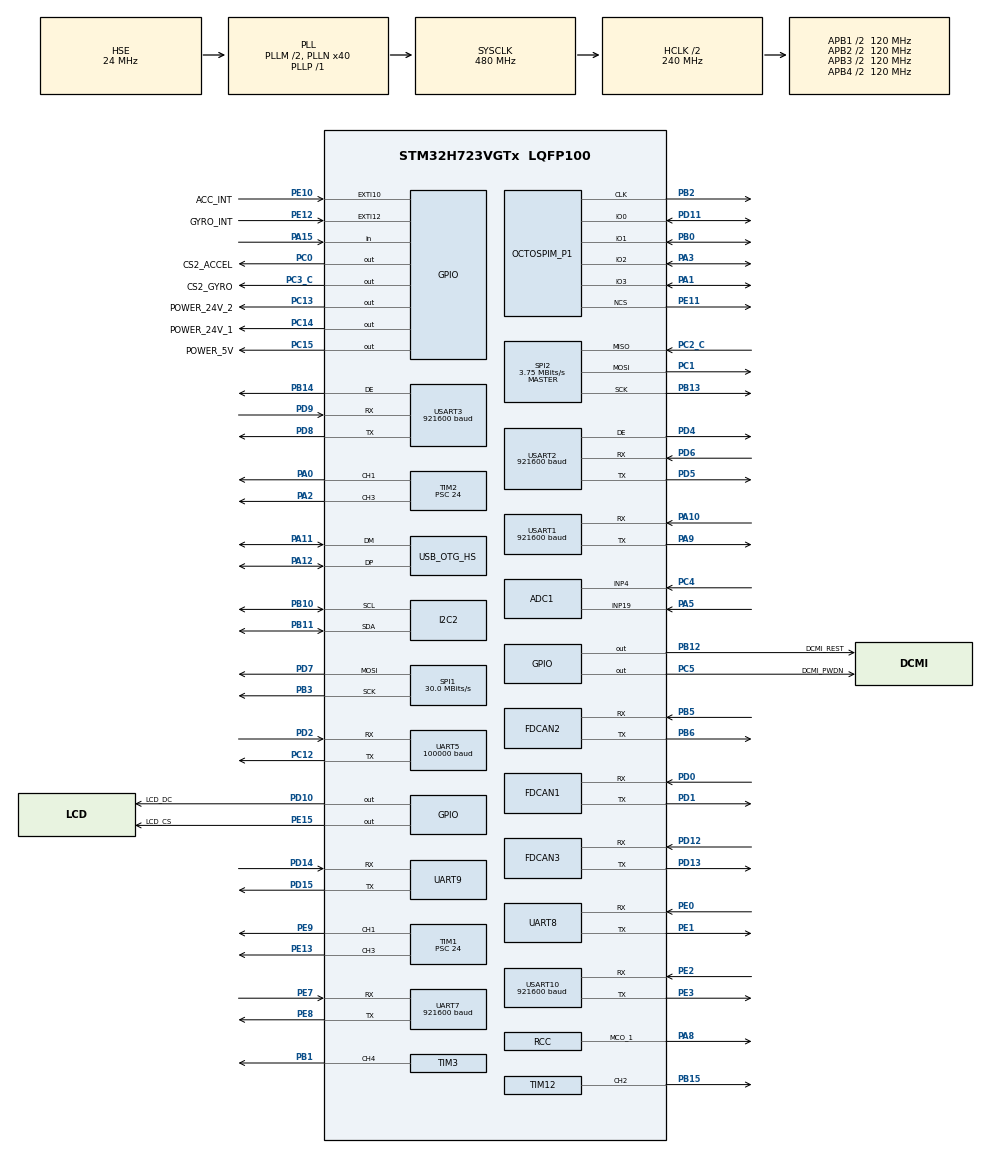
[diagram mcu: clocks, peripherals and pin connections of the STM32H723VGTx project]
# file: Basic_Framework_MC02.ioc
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ADC1.Channel-0\#ChannelRegularConversion=ADC_CHANNEL_4
ADC1.Channel-1\#ChannelRegularConversion=ADC_CHANNEL_19
ADC1.ClockPrescaler=ADC_CLOCK_ASYNC_DIV64
ADC1.ContinuousConvMode=ENABLE
ADC1.ConversionDataManagement=ADC_CONVERSIONDATA_DMA_CIRCULAR
ADC1.NbrOfConversion=2
ADC1.NbrOfConversionFlag=1
ADC1.OffsetNumber-0\#ChannelRegularConversion=ADC_OFFSET_NONE
ADC1.OffsetNumber-1\#ChannelRegularConversion=ADC_OFFSET_NONE
ADC1.OffsetSignedSaturation-0\#ChannelRegularConversion=DISABLE
ADC1.OffsetSignedSaturation-1\#ChannelRegularConversion=DISABLE
ADC1.Rank-0\#ChannelRegularConversion=1
ADC1.Rank-1\#ChannelRegularConversion=2
ADC1.SamplingTime-0\#ChannelRegularConversion=ADC_SAMPLETIME_32CYCLES_5
ADC1.SamplingTime-1\#ChannelRegularConversion=ADC_SAMPLETIME_32CYCLES_5
ADC1.master=1
CORTEX_M7.BaseAddress-Cortex_Memory_Protection_Unit_Region0_Settings=0x24000000
CORTEX_M7.CPU_DCache=Disabled
CORTEX_M7.CPU_ICache=Disabled
CORTEX_M7.Enable-Cortex_Memory_Protection_Unit_Region0_Settings=MPU_REGION_ENABLE
CORTEX_M7.IsBufferable-Cortex_Memory_Protection_Unit_Region0_Settings=MPU_ACCESS_BUFFERABLE
CORTEX_M7.IsCacheable-Cortex_Memory_Protection_Unit_Region0_Settings=MPU_ACCESS_CACHEABLE
CORTEX_M7.MPU_Control=__NULL
CORTEX_M7.Size-Cortex_Memory_Protection_Unit_Region0_Settings=MPU_REGION_SIZE_512B
CORTEX_M7.TypeExtField-Cortex_Memory_Protection_Unit_Region0_Settings=MPU_TEX_LEVEL1
Dma.ADC1.0.Direction=DMA_PERIPH_TO_MEMORY
Dma.ADC1.0.EventEnable=DISABLE
Dma.ADC1.0.FIFOMode=DMA_FIFOMODE_DISABLE
Dma.ADC1.0.Instance=DMA1_Stream0
Dma.ADC1.0.MemDataAlignment=DMA_MDATAALIGN_HALFWORD
Dma.ADC1.0.MemInc=DMA_MINC_ENABLE
Dma.ADC1.0.Mode=DMA_CIRCULAR
Dma.ADC1.0.PeriphDataAlignment=DMA_PDATAALIGN_HALFWORD
Dma.ADC1.0.PeriphInc=DMA_PINC_DISABLE
Dma.ADC1.0.Polarity=HAL_DMAMUX_REQ_GEN_RISING
Dma.ADC1.0.Priority=DMA_PRIORITY_LOW
Dma.ADC1.0.RequestNumber=1
Dma.ADC1.0.SignalID=NONE
Dma.ADC1.0.SyncEnable=DISABLE
Dma.ADC1.0.SyncPolarity=HAL_DMAMUX_SYNC_NO_EVENT
Dma.ADC1.0.SyncRequestNumber=1
Dma.ADC1.0.SyncSignalID=NONE
Dma.I2C2_RX.2.Direction=DMA_PERIPH_TO_MEMORY
Dma.I2C2_RX.2.EventEnable=DISABLE
Dma.I2C2_RX.2.FIFOMode=DMA_FIFOMODE_DISABLE
Dma.I2C2_RX.2.Instance=DMA1_Stream2
Dma.I2C2_RX.2.MemDataAlignment=DMA_MDATAALIGN_BYTE
Dma.I2C2_RX.2.MemInc=DMA_MINC_ENABLE
Dma.I2C2_RX.2.Mode=DMA_NORMAL
Dma.I2C2_RX.2.PeriphDataAlignment=DMA_PDATAALIGN_BYTE
Dma.I2C2_RX.2.PeriphInc=DMA_PINC_DISABLE
Dma.I2C2_RX.2.Polarity=HAL_DMAMUX_REQ_GEN_RISING
Dma.I2C2_RX.2.Priority=DMA_PRIORITY_LOW
Dma.I2C2_RX.2.RequestNumber=1
Dma.I2C2_RX.2.SignalID=NONE
Dma.I2C2_RX.2.SyncEnable=DISABLE
Dma.I2C2_RX.2.SyncPolarity=HAL_DMAMUX_SYNC_NO_EVENT
Dma.I2C2_RX.2.SyncRequestNumber=1
Dma.I2C2_RX.2.SyncSignalID=NONE
Dma.I2C2_TX.3.Direction=DMA_MEMORY_TO_PERIPH
Dma.I2C2_TX.3.EventEnable=DISABLE
Dma.I2C2_TX.3.FIFOMode=DMA_FIFOMODE_DISABLE
Dma.I2C2_TX.3.Instance=DMA1_Stream3
Dma.I2C2_TX.3.MemDataAlignment=DMA_MDATAALIGN_BYTE
Dma.I2C2_TX.3.MemInc=DMA_MINC_ENABLE
Dma.I2C2_TX.3.Mode=DMA_NORMAL
Dma.I2C2_TX.3.PeriphDataAlignment=DMA_PDATAALIGN_BYTE
Dma.I2C2_TX.3.PeriphInc=DMA_PINC_DISABLE
Dma.I2C2_TX.3.Polarity=HAL_DMAMUX_REQ_GEN_RISING
Dma.I2C2_TX.3.Priority=DMA_PRIORITY_LOW
Dma.I2C2_TX.3.RequestNumber=1
Dma.I2C2_TX.3.SignalID=NONE
Dma.I2C2_TX.3.SyncEnable=DISABLE
Dma.I2C2_TX.3.SyncPolarity=HAL_DMAMUX_SYNC_NO_EVENT
Dma.I2C2_TX.3.SyncRequestNumber=1
Dma.I2C2_TX.3.SyncSignalID=NONE
Dma.Request0=ADC1
Dma.Request1=UART5_RX
Dma.Request10=USART1_TX
Dma.Request11=USART1_RX
Dma.Request12=USART10_RX
Dma.Request13=USART10_TX
Dma.Request14=UART8_TX
Dma.Request15=UART8_RX
Dma.Request2=I2C2_RX
Dma.Request3=I2C2_TX
Dma.Request4=UART9_RX
Dma.Request5=UART9_TX
Dma.Request6=USART3_RX
Dma.Request7=USART3_TX
Dma.Request8=USART2_RX
Dma.Request9=USART2_TX
Dma.UART5_RX.1.Direction=DMA_PERIPH_TO_MEMORY
Dma.UART5_RX.1.EventEnable=DISABLE
Dma.UART5_RX.1.FIFOMode=DMA_FIFOMODE_DISABLE
Dma.UART5_RX.1.Instance=DMA1_Stream7
Dma.UART5_RX.1.MemDataAlignment=DMA_MDATAALIGN_BYTE
Dma.UART5_RX.1.MemInc=DMA_MINC_ENABLE
Dma.UART5_RX.1.Mode=DMA_NORMAL
Dma.UART5_RX.1.PeriphDataAlignment=DMA_PDATAALIGN_BYTE
Dma.UART5_RX.1.PeriphInc=DMA_PINC_DISABLE
Dma.UART5_RX.1.Polarity=HAL_DMAMUX_REQ_GEN_RISING
Dma.UART5_RX.1.Priority=DMA_PRIORITY_VERY_HIGH
Dma.UART5_RX.1.RequestNumber=1
Dma.UART5_RX.1.SignalID=NONE
Dma.UART5_RX.1.SyncEnable=DISABLE
Dma.UART5_RX.1.SyncPolarity=HAL_DMAMUX_SYNC_NO_EVENT
Dma.UART5_RX.1.SyncRequestNumber=1
Dma.UART5_RX.1.SyncSignalID=NONE
Dma.UART8_RX.15.Direction=DMA_PERIPH_TO_MEMORY
Dma.UART8_RX.15.EventEnable=DISABLE
Dma.UART8_RX.15.FIFOMode=DMA_FIFOMODE_DISABLE
Dma.UART8_RX.15.Instance=DMA2_Stream7
Dma.UART8_RX.15.MemDataAlignment=DMA_MDATAALIGN_BYTE
Dma.UART8_RX.15.MemInc=DMA_MINC_ENABLE
Dma.UART8_RX.15.Mode=DMA_NORMAL
Dma.UART8_RX.15.PeriphDataAlignment=DMA_PDATAALIGN_BYTE
Dma.UART8_RX.15.PeriphInc=DMA_PINC_DISABLE
Dma.UART8_RX.15.Polarity=HAL_DMAMUX_REQ_GEN_RISING
Dma.UART8_RX.15.Priority=DMA_PRIORITY_LOW
Dma.UART8_RX.15.RequestNumber=1
Dma.UART8_RX.15.SignalID=NONE
Dma.UART8_RX.15.SyncEnable=DISABLE
Dma.UART8_RX.15.SyncPolarity=HAL_DMAMUX_SYNC_NO_EVENT
Dma.UART8_RX.15.SyncRequestNumber=1
Dma.UART8_RX.15.SyncSignalID=NONE
Dma.UART8_TX.14.Direction=DMA_MEMORY_TO_PERIPH
Dma.UART8_TX.14.EventEnable=DISABLE
Dma.UART8_TX.14.FIFOMode=DMA_FIFOMODE_DISABLE
Dma.UART8_TX.14.Instance=DMA2_Stream6
Dma.UART8_TX.14.MemDataAlignment=DMA_MDATAALIGN_BYTE
Dma.UART8_TX.14.MemInc=DMA_MINC_ENABLE
Dma.UART8_TX.14.Mode=DMA_NORMAL
Dma.UART8_TX.14.PeriphDataAlignment=DMA_PDATAALIGN_BYTE
Dma.UART8_TX.14.PeriphInc=DMA_PINC_DISABLE
Dma.UART8_TX.14.Polarity=HAL_DMAMUX_REQ_GEN_RISING
Dma.UART8_TX.14.Priority=DMA_PRIORITY_LOW
Dma.UART8_TX.14.RequestNumber=1
Dma.UART8_TX.14.SignalID=NONE
Dma.UART8_TX.14.SyncEnable=DISABLE
Dma.UART8_TX.14.SyncPolarity=HAL_DMAMUX_SYNC_NO_EVENT
Dma.UART8_TX.14.SyncRequestNumber=1
Dma.UART8_TX.14.SyncSignalID=NONE
Dma.UART9_RX.4.Direction=DMA_PERIPH_TO_MEMORY
Dma.UART9_RX.4.EventEnable=DISABLE
Dma.UART9_RX.4.FIFOMode=DMA_FIFOMODE_DISABLE
Dma.UART9_RX.4.Instance=DMA1_Stream4
Dma.UART9_RX.4.MemDataAlignment=DMA_MDATAALIGN_BYTE
Dma.UART9_RX.4.MemInc=DMA_MINC_ENABLE
Dma.UART9_RX.4.Mode=DMA_NORMAL
Dma.UART9_RX.4.PeriphDataAlignment=DMA_PDATAALIGN_BYTE
Dma.UART9_RX.4.PeriphInc=DMA_PINC_DISABLE
Dma.UART9_RX.4.Polarity=HAL_DMAMUX_REQ_GEN_RISING
Dma.UART9_RX.4.Priority=DMA_PRIORITY_HIGH
Dma.UART9_RX.4.RequestNumber=1
Dma.UART9_RX.4.SignalID=NONE
Dma.UART9_RX.4.SyncEnable=DISABLE
Dma.UART9_RX.4.SyncPolarity=HAL_DMAMUX_SYNC_NO_EVENT
Dma.UART9_RX.4.SyncRequestNumber=1
Dma.UART9_RX.4.SyncSignalID=NONE
Dma.UART9_TX.5.Direction=DMA_MEMORY_TO_PERIPH
Dma.UART9_TX.5.EventEnable=DISABLE
Dma.UART9_TX.5.FIFOMode=DMA_FIFOMODE_DISABLE
Dma.UART9_TX.5.Instance=DMA1_Stream5
Dma.UART9_TX.5.MemDataAlignment=DMA_MDATAALIGN_BYTE
Dma.UART9_TX.5.MemInc=DMA_MINC_ENABLE
Dma.UART9_TX.5.Mode=DMA_NORMAL
Dma.UART9_TX.5.PeriphDataAlignment=DMA_PDATAALIGN_BYTE
Dma.UART9_TX.5.PeriphInc=DMA_PINC_DISABLE
Dma.UART9_TX.5.Polarity=HAL_DMAMUX_REQ_GEN_RISING
Dma.UART9_TX.5.Priority=DMA_PRIORITY_HIGH
Dma.UART9_TX.5.RequestNumber=1
Dma.UART9_TX.5.SignalID=NONE
Dma.UART9_TX.5.SyncEnable=DISABLE
Dma.UART9_TX.5.SyncPolarity=HAL_DMAMUX_SYNC_NO_EVENT
Dma.UART9_TX.5.SyncRequestNumber=1
Dma.UART9_TX.5.SyncSignalID=NONE
Dma.USART10_RX.12.Direction=DMA_PERIPH_TO_MEMORY
Dma.USART10_RX.12.EventEnable=DISABLE
Dma.USART10_RX.12.FIFOMode=DMA_FIFOMODE_DISABLE
Dma.USART10_RX.12.Instance=DMA2_Stream4
Dma.USART10_RX.12.MemDataAlignment=DMA_MDATAALIGN_BYTE
Dma.USART10_RX.12.MemInc=DMA_MINC_ENABLE
Dma.USART10_RX.12.Mode=DMA_NORMAL
Dma.USART10_RX.12.PeriphDataAlignment=DMA_PDATAALIGN_BYTE
Dma.USART10_RX.12.PeriphInc=DMA_PINC_DISABLE
Dma.USART10_RX.12.Polarity=HAL_DMAMUX_REQ_GEN_RISING
Dma.USART10_RX.12.Priority=DMA_PRIORITY_LOW
Dma.USART10_RX.12.RequestNumber=1
Dma.USART10_RX.12.SignalID=NONE
Dma.USART10_RX.12.SyncEnable=DISABLE
Dma.USART10_RX.12.SyncPolarity=HAL_DMAMUX_SYNC_NO_EVENT
Dma.USART10_RX.12.SyncRequestNumber=1
Dma.USART10_RX.12.SyncSignalID=NONE
Dma.USART10_TX.13.Direction=DMA_MEMORY_TO_PERIPH
Dma.USART10_TX.13.EventEnable=DISABLE
Dma.USART10_TX.13.FIFOMode=DMA_FIFOMODE_DISABLE
Dma.USART10_TX.13.Instance=DMA2_Stream5
Dma.USART10_TX.13.MemDataAlignment=DMA_MDATAALIGN_BYTE
Dma.USART10_TX.13.MemInc=DMA_MINC_ENABLE
Dma.USART10_TX.13.Mode=DMA_NORMAL
Dma.USART10_TX.13.PeriphDataAlignment=DMA_PDATAALIGN_BYTE
Dma.USART10_TX.13.PeriphInc=DMA_PINC_DISABLE
Dma.USART10_TX.13.Polarity=HAL_DMAMUX_REQ_GEN_RISING
Dma.USART10_TX.13.Priority=DMA_PRIORITY_LOW
Dma.USART10_TX.13.RequestNumber=1
Dma.USART10_TX.13.SignalID=NONE
Dma.USART10_TX.13.SyncEnable=DISABLE
Dma.USART10_TX.13.SyncPolarity=HAL_DMAMUX_SYNC_NO_EVENT
Dma.USART10_TX.13.SyncRequestNumber=1
Dma.USART10_TX.13.SyncSignalID=NONE
Dma.USART1_RX.11.Direction=DMA_PERIPH_TO_MEMORY
Dma.USART1_RX.11.EventEnable=DISABLE
Dma.USART1_RX.11.FIFOMode=DMA_FIFOMODE_DISABLE
Dma.USART1_RX.11.Instance=DMA2_Stream3
Dma.USART1_RX.11.MemDataAlignment=DMA_MDATAALIGN_BYTE
Dma.USART1_RX.11.MemInc=DMA_MINC_ENABLE
Dma.USART1_RX.11.Mode=DMA_NORMAL
Dma.USART1_RX.11.PeriphDataAlignment=DMA_PDATAALIGN_BYTE
Dma.USART1_RX.11.PeriphInc=DMA_PINC_DISABLE
Dma.USART1_RX.11.Polarity=HAL_DMAMUX_REQ_GEN_RISING
Dma.USART1_RX.11.Priority=DMA_PRIORITY_LOW
Dma.USART1_RX.11.RequestNumber=1
Dma.USART1_RX.11.SignalID=NONE
Dma.USART1_RX.11.SyncEnable=DISABLE
Dma.USART1_RX.11.SyncPolarity=HAL_DMAMUX_SYNC_NO_EVENT
Dma.USART1_RX.11.SyncRequestNumber=1
Dma.USART1_RX.11.SyncSignalID=NONE
Dma.USART1_TX.10.Direction=DMA_MEMORY_TO_PERIPH
Dma.USART1_TX.10.EventEnable=DISABLE
Dma.USART1_TX.10.FIFOMode=DMA_FIFOMODE_DISABLE
Dma.USART1_TX.10.Instance=DMA2_Stream2
Dma.USART1_TX.10.MemDataAlignment=DMA_MDATAALIGN_BYTE
Dma.USART1_TX.10.MemInc=DMA_MINC_ENABLE
Dma.USART1_TX.10.Mode=DMA_NORMAL
Dma.USART1_TX.10.PeriphDataAlignment=DMA_PDATAALIGN_BYTE
Dma.USART1_TX.10.PeriphInc=DMA_PINC_DISABLE
Dma.USART1_TX.10.Polarity=HAL_DMAMUX_REQ_GEN_RISING
Dma.USART1_TX.10.Priority=DMA_PRIORITY_LOW
Dma.USART1_TX.10.RequestNumber=1
Dma.USART1_TX.10.SignalID=NONE
Dma.USART1_TX.10.SyncEnable=DISABLE
Dma.USART1_TX.10.SyncPolarity=HAL_DMAMUX_SYNC_NO_EVENT
Dma.USART1_TX.10.SyncRequestNumber=1
Dma.USART1_TX.10.SyncSignalID=NONE
Dma.USART2_RX.8.Direction=DMA_PERIPH_TO_MEMORY
Dma.USART2_RX.8.EventEnable=DISABLE
Dma.USART2_RX.8.FIFOMode=DMA_FIFOMODE_DISABLE
Dma.USART2_RX.8.Instance=DMA2_Stream0
Dma.USART2_RX.8.MemDataAlignment=DMA_MDATAALIGN_BYTE
Dma.USART2_RX.8.MemInc=DMA_MINC_ENABLE
Dma.USART2_RX.8.Mode=DMA_NORMAL
Dma.USART2_RX.8.PeriphDataAlignment=DMA_PDATAALIGN_BYTE
Dma.USART2_RX.8.PeriphInc=DMA_PINC_DISABLE
Dma.USART2_RX.8.Polarity=HAL_DMAMUX_REQ_GEN_RISING
Dma.USART2_RX.8.Priority=DMA_PRIORITY_LOW
Dma.USART2_RX.8.RequestNumber=1
Dma.USART2_RX.8.SignalID=NONE
Dma.USART2_RX.8.SyncEnable=DISABLE
Dma.USART2_RX.8.SyncPolarity=HAL_DMAMUX_SYNC_NO_EVENT
Dma.USART2_RX.8.SyncRequestNumber=1
Dma.USART2_RX.8.SyncSignalID=NONE
Dma.USART2_TX.9.Direction=DMA_MEMORY_TO_PERIPH
Dma.USART2_TX.9.EventEnable=DISABLE
Dma.USART2_TX.9.FIFOMode=DMA_FIFOMODE_DISABLE
Dma.USART2_TX.9.Instance=DMA2_Stream1
Dma.USART2_TX.9.MemDataAlignment=DMA_MDATAALIGN_BYTE
Dma.USART2_TX.9.MemInc=DMA_MINC_ENABLE
Dma.USART2_TX.9.Mode=DMA_NORMAL
Dma.USART2_TX.9.PeriphDataAlignment=DMA_PDATAALIGN_BYTE
Dma.USART2_TX.9.PeriphInc=DMA_PINC_DISABLE
Dma.USART2_TX.9.Polarity=HAL_DMAMUX_REQ_GEN_RISING
Dma.USART2_TX.9.Priority=DMA_PRIORITY_LOW
Dma.USART2_TX.9.RequestNumber=1
Dma.USART2_TX.9.SignalID=NONE
Dma.USART2_TX.9.SyncEnable=DISABLE
Dma.USART2_TX.9.SyncPolarity=HAL_DMAMUX_SYNC_NO_EVENT
Dma.USART2_TX.9.SyncRequestNumber=1
Dma.USART2_TX.9.SyncSignalID=NONE
Dma.USART3_RX.6.Direction=DMA_PERIPH_TO_MEMORY
Dma.USART3_RX.6.EventEnable=DISABLE
Dma.USART3_RX.6.FIFOMode=DMA_FIFOMODE_DISABLE
Dma.USART3_RX.6.Instance=DMA1_Stream6
Dma.USART3_RX.6.MemDataAlignment=DMA_MDATAALIGN_BYTE
Dma.USART3_RX.6.MemInc=DMA_MINC_ENABLE
Dma.USART3_RX.6.Mode=DMA_NORMAL
Dma.USART3_RX.6.PeriphDataAlignment=DMA_PDATAALIGN_BYTE
Dma.USART3_RX.6.PeriphInc=DMA_PINC_DISABLE
Dma.USART3_RX.6.Polarity=HAL_DMAMUX_REQ_GEN_RISING
Dma.USART3_RX.6.Priority=DMA_PRIORITY_LOW
Dma.USART3_RX.6.RequestNumber=1
Dma.USART3_RX.6.SignalID=NONE
Dma.USART3_RX.6.SyncEnable=DISABLE
Dma.USART3_RX.6.SyncPolarity=HAL_DMAMUX_SYNC_NO_EVENT
Dma.USART3_RX.6.SyncRequestNumber=1
Dma.USART3_RX.6.SyncSignalID=NONE
Dma.USART3_TX.7.Direction=DMA_MEMORY_TO_PERIPH
Dma.USART3_TX.7.EventEnable=DISABLE
Dma.USART3_TX.7.FIFOMode=DMA_FIFOMODE_DISABLE
Dma.USART3_TX.7.Instance=DMA1_Stream1
Dma.USART3_TX.7.MemDataAlignment=DMA_MDATAALIGN_BYTE
Dma.USART3_TX.7.MemInc=DMA_MINC_ENABLE
Dma.USART3_TX.7.Mode=DMA_NORMAL
Dma.USART3_TX.7.PeriphDataAlignment=DMA_PDATAALIGN_BYTE
Dma.USART3_TX.7.PeriphInc=DMA_PINC_DISABLE
Dma.USART3_TX.7.Polarity=HAL_DMAMUX_REQ_GEN_RISING
Dma.USART3_TX.7.Priority=DMA_PRIORITY_LOW
Dma.USART3_TX.7.RequestNumber=1
Dma.USART3_TX.7.SignalID=NONE
Dma.USART3_TX.7.SyncEnable=DISABLE
Dma.USART3_TX.7.SyncPolarity=HAL_DMAMUX_SYNC_NO_EVENT
Dma.USART3_TX.7.SyncRequestNumber=1
Dma.USART3_TX.7.SyncSignalID=NONE
FDCAN1.CalculateBaudRateNominal=1000000
FDCAN1.CalculateTimeBitNominal=1000
FDCAN1.CalculateTimeQuantumNominal=25.0
FDCAN1.DataPrescaler=3
FDCAN1.DataSyncJumpWidth=10
FDCAN1.DataTimeSeg1=29
FDCAN1.DataTimeSeg2=10
FDCAN1.AutoRetransmission=ENABLE
FDCAN1.NominalPrescaler=3
FDCAN1.NominalTimeSeg1=29
FDCAN1.NominalTimeSeg2=10
FDCAN1.ProtocolException=ENABLE
FDCAN1.RxFifo0ElmtsNbr=4
FDCAN1.RxFifo1ElmtsNbr=4
FDCAN1.StdFiltersNbr=14
FDCAN1.TxFifoQueueElmtsNbr=3
FDCAN2.CalculateBaudRateNominal=1000000
FDCAN2.CalculateTimeBitNominal=1000
FDCAN2.CalculateTimeQuantumNominal=25.0
FDCAN2.DataPrescaler=3
FDCAN2.DataSyncJumpWidth=10
FDCAN2.DataTimeSeg1=29
FDCAN2.DataTimeSeg2=10
FDCAN2.AutoRetransmission=ENABLE
FDCAN2.MessageRAMOffset=0x406
FDCAN2.NominalPrescaler=3
FDCAN2.NominalTimeSeg1=29
FDCAN2.NominalTimeSeg2=10
FDCAN2.RxFifo0ElmtsNbr=4
FDCAN2.RxFifo1ElmtsNbr=4
FDCAN2.StdFiltersNbr=14
FDCAN2.TxFifoQueueElmtsNbr=3
FDCAN3.CalculateBaudRateNominal=1000000
FDCAN3.CalculateTimeBitNominal=1000
FDCAN3.CalculateTimeQuantumNominal=25.0
FDCAN3.DataPrescaler=3
FDCAN3.DataSyncJumpWidth=10
FDCAN3.DataTimeSeg1=29
FDCAN3.DataTimeSeg2=10
FDCAN3.MessageRAMOffset=0x812
FDCAN3.NominalPrescaler=3
FDCAN3.NominalTimeSeg1=29
FDCAN3.NominalTimeSeg2=10
FDCAN3.RxFifo0ElmtsNbr=4
FDCAN3.RxFifo1ElmtsNbr=4
FDCAN3.StdFiltersNbr=14
FDCAN3.TxFifoQueueElmtsNbr=3
FREERTOS.INCLUDE_eTaskGetState=0
FREERTOS.INCLUDE_uxTaskGetStackHighWaterMark=0
FREERTOS.INCLUDE_vTaskDelayUntil=1
FREERTOS.INCLUDE_xQueueGetMutexHolder=1
FREERTOS.INCLUDE_xTaskGetCurrentTaskHandle=0
FREERTOS.INCLUDE_xTimerPendFunctionCall=0
FREERTOS.Tasks01=defaultTask,0,128,StartDefaultTask,Default,NULL,Dynamic,NULL,NULL
FREERTOS.configENABLE_FPU=1
FREERTOS.configGENERATE_RUN_TIME_STATS=1
FREERTOS.configTOTAL_HEAP_SIZE=25600
FREERTOS.configUSE_COUNTING_SEMAPHORES=1
FREERTOS.configUSE_RECURSIVE_MUTEXES=0
FREERTOS.configUSE_TIMERS=1
FREERTOS.configUSE_TRACE_FACILITY=1
I2C2.Timing=0x307075B1
Mcu.Family=STM32H7
Mcu.Name=STM32H723VGTx
Mcu.Package=LQFP100
NVIC.DMA1_Stream0_IRQn=true\:5\:0\:false\:false\:true\:false\:false\:true\:true
NVIC.DMA1_Stream1_IRQn=true\:5\:0\:false\:false\:true\:true\:false\:true\:true
NVIC.DMA1_Stream2_IRQn=true\:5\:0\:false\:false\:true\:true\:false\:true\:true
NVIC.DMA1_Stream3_IRQn=true\:5\:0\:false\:false\:true\:true\:false\:true\:true
NVIC.DMA1_Stream4_IRQn=true\:5\:0\:false\:false\:true\:true\:false\:true\:true
NVIC.DMA1_Stream5_IRQn=true\:5\:0\:false\:false\:true\:true\:false\:true\:true
NVIC.DMA1_Stream6_IRQn=true\:5\:0\:false\:false\:true\:true\:false\:true\:true
NVIC.DMA1_Stream7_IRQn=true\:5\:0\:false\:false\:true\:true\:false\:true\:true
NVIC.DMA2_Stream0_IRQn=true\:5\:0\:false\:false\:true\:true\:false\:true\:true
NVIC.DMA2_Stream1_IRQn=true\:5\:0\:false\:false\:true\:true\:false\:true\:true
NVIC.DMA2_Stream2_IRQn=true\:5\:0\:false\:false\:true\:true\:false\:true\:true
NVIC.DMA2_Stream3_IRQn=true\:5\:0\:false\:false\:true\:true\:false\:true\:true
NVIC.DMA2_Stream4_IRQn=true\:5\:0\:false\:false\:true\:true\:false\:true\:true
NVIC.DMA2_Stream5_IRQn=true\:5\:0\:false\:false\:true\:true\:false\:true\:true
NVIC.DMA2_Stream6_IRQn=true\:5\:0\:false\:false\:true\:true\:false\:true\:true
NVIC.DMA2_Stream7_IRQn=true\:5\:0\:false\:false\:true\:true\:false\:true\:true
NVIC.FDCAN1_IT0_IRQn=true\:5\:0\:false\:false\:true\:true\:true\:true\:true
NVIC.FDCAN1_IT1_IRQn=true\:5\:0\:false\:false\:true\:true\:true\:true\:true
NVIC.FDCAN2_IT0_IRQn=true\:5\:0\:false\:false\:true\:true\:true\:true\:true
NVIC.FDCAN2_IT1_IRQn=true\:5\:0\:false\:false\:true\:true\:true\:true\:true
NVIC.FDCAN3_IT0_IRQn=true\:5\:0\:false\:false\:true\:true\:true\:true\:true
NVIC.FDCAN3_IT1_IRQn=true\:5\:0\:false\:false\:true\:true\:true\:true\:true
NVIC.I2C2_EV_IRQn=true\:5\:0\:false\:false\:true\:true\:true\:true\:true
NVIC.OTG_HS_IRQn=true\:5\:0\:false\:false\:true\:true\:false\:true\:true
NVIC.PriorityGroup=NVIC_PRIORITYGROUP_4
NVIC.TIM23_IRQn=true\:15\:0\:false\:false\:true\:false\:false\:true\:true
NVIC.TimeBase=TIM23_IRQn
NVIC.TimeBaseIP=TIM23
NVIC.UART5_IRQn=true\:5\:0\:false\:false\:true\:true\:true\:true\:true
NVIC.UART7_IRQn=true\:5\:0\:true\:false\:true\:false\:true\:true\:true
NVIC.USART10_IRQn=true\:5\:0\:true\:false\:true\:false\:true\:true\:true
NVIC.USART1_IRQn=true\:5\:0\:true\:false\:true\:false\:true\:true\:true
NVIC.USART2_IRQn=true\:5\:0\:true\:false\:true\:false\:true\:true\:true
NVIC.USART3_IRQn=true\:5\:0\:true\:false\:true\:false\:true\:true\:true
OCTOSPI2.ClockMode=HAL_OSPI_CLOCK_MODE_3
OCTOSPI2.ClockPrescaler=3
OCTOSPI2.DeviceSize=23
OCTOSPI2.DeviceType=SPI_DEVICE_FLASH
OCTOSPI2.FifoThreshold=8
OCTOSPI2.SampleShifting=HAL_OSPI_SAMPLE_SHIFTING_HALFCYCLE
PA0.Signal=S_TIM2_CH1_ETR
PA1.Mode=OCTOSPI2_IOL_Port1L
PA1.Signal=OCTOSPIM_P1_IO3
PA10.Mode=Asynchronous
PA10.Signal=USART1_RX
PA11.Mode=Device_Only_FS
PA11.Signal=USB_OTG_HS_DM
PA12.Mode=Device_Only_FS
PA12.Signal=USB_OTG_HS_DP
PA13(JTMS/SWDIO).Mode=Serial_Wire
PA13(JTMS/SWDIO).Signal=DEBUG_JTMS-SWDIO
PA14(JTCK/SWCLK).Mode=Serial_Wire
PA14(JTCK/SWCLK).Signal=DEBUG_JTCK-SWCLK
PA15(JTDI).Signal=GPIO_Input
PA2.Signal=S_TIM2_CH3
PA3.Mode=OCTOSPI2_IOL_Port1L
PA3.Signal=OCTOSPIM_P1_IO2
PA5.Signal=ADCx_INP19
PA8.Mode=Clock-out-1
PA8.Signal=RCC_MCO_1
PA9.Mode=Asynchronous
PA9.Signal=USART1_TX
PB0.Mode=OCTOSPI2_IOL_Port1L
PB0.Signal=OCTOSPIM_P1_IO1
PB1.Signal=S_TIM3_CH4
PB10.Mode=I2C
PB10.Signal=I2C2_SCL
PB11.Mode=I2C
PB11.Signal=I2C2_SDA
PB12.GPIO_Label=DCMI_REST
PB12.GPIO_PuPd=GPIO_PULLUP
PB12.GPIO_Speed=GPIO_SPEED_FREQ_VERY_HIGH
PB12.PinState=GPIO_PIN_SET
PB12.Signal=GPIO_Output
PB13.GPIO_Speed=GPIO_SPEED_FREQ_VERY_HIGH
PB13.Mode=Full_Duplex_Master
PB13.Signal=SPI2_SCK
PB14.Mode=Hardware Flow Control (RS485)
PB14.Signal=USART3_DE
PB15.Signal=S_TIM12_CH2
PB2.Mode=O2_P1_CLK
PB2.Signal=OCTOSPIM_P1_CLK
PB3(JTDO/TRACESWO).GPIO_Speed=GPIO_SPEED_FREQ_VERY_HIGH
PB3(JTDO/TRACESWO).Mode=TX_Only_Simplex_Unidirect_Master
PB3(JTDO/TRACESWO).Signal=SPI1_SCK
PB5.Mode=FDCAN_Activate
PB5.Signal=FDCAN2_RX
PB6.Mode=FDCAN_Activate
PB6.Signal=FDCAN2_TX
PC0.GPIO_Label=CS2_ACCEL
PC0.GPIO_Speed=GPIO_SPEED_FREQ_VERY_HIGH
PC0.PinState=GPIO_PIN_SET
PC0.Signal=GPIO_Output
PC1.GPIO_Speed=GPIO_SPEED_FREQ_VERY_HIGH
PC1.Mode=Full_Duplex_Master
PC1.Signal=SPI2_MOSI
PC12.Mode=Asynchronous
PC12.Signal=UART5_TX
PC13.GPIO_Label=POWER_24V_2
PC13.PinState=GPIO_PIN_SET
PC13.Signal=GPIO_Output
PC14-OSC32_IN.GPIO_Label=POWER_24V_1
PC14-OSC32_IN.PinState=GPIO_PIN_SET
PC14-OSC32_IN.Signal=GPIO_Output
PC15-OSC32_OUT.GPIO_Label=POWER_5V
PC15-OSC32_OUT.PinState=GPIO_PIN_SET
PC15-OSC32_OUT.Signal=GPIO_Output
PC2_C.GPIO_Speed=GPIO_SPEED_FREQ_VERY_HIGH
PC2_C.Mode=Full_Duplex_Master
PC2_C.Signal=SPI2_MISO
PC3_C.GPIO_Label=CS2_GYRO
PC3_C.GPIO_Speed=GPIO_SPEED_FREQ_VERY_HIGH
PC3_C.PinState=GPIO_PIN_SET
PC3_C.Signal=GPIO_Output
PC4.Signal=ADCx_INP4
PC5.GPIO_Label=DCMI_PWDN
PC5.GPIO_PuPd=GPIO_NOPULL
PC5.GPIO_Speed=GPIO_SPEED_FREQ_VERY_HIGH
PC5.PinState=GPIO_PIN_SET
PC5.Signal=GPIO_Output
PD0.Mode=FDCAN_Activate
PD0.Signal=FDCAN1_RX
PD1.Mode=FDCAN_Activate
PD1.Signal=FDCAN1_TX
PD10.GPIO_Label=LCD_DC
PD10.Signal=GPIO_Output
PD11.Mode=OCTOSPI2_IOL_Port1L
PD11.Signal=OCTOSPIM_P1_IO0
PD12.Mode=FDCAN_Activate
PD12.Signal=FDCAN3_RX
PD13.Mode=FDCAN_Activate
PD13.Signal=FDCAN3_TX
PD14.Mode=Asynchronous
PD14.Signal=UART9_RX
PD15.Mode=Asynchronous
PD15.Signal=UART9_TX
PD2.Mode=Asynchronous
PD2.Signal=UART5_RX
PD4.Mode=Hardware Flow Control (RS485)
PD4.Signal=USART2_DE
PD5.Mode=Asynchronous
PD5.Signal=USART2_TX
PD6.Mode=Asynchronous
PD6.Signal=USART2_RX
PD7.GPIO_Speed=GPIO_SPEED_FREQ_VERY_HIGH
PD7.Mode=TX_Only_Simplex_Unidirect_Master
PD7.Signal=SPI1_MOSI
PD8.Mode=Asynchronous
PD8.Signal=USART3_TX
PD9.Mode=Asynchronous
PD9.Signal=USART3_RX
PE0.Mode=Asynchronous
PE0.Signal=UART8_RX
PE1.Mode=Asynchronous
PE1.Signal=UART8_TX
PE10.GPIO_Label=ACC_INT
PE10.Signal=GPXTI10
PE11.Mode=OCTOSPI2_Port1_NCS
PE11.Signal=OCTOSPIM_P1_NCS
PE12.GPIO_Label=GYRO_INT
PE12.Signal=GPXTI12
PE13.Signal=S_TIM1_CH3
PE15.GPIO_Label=LCD_CS
PE15.Signal=GPIO_Output
PE2.Mode=Asynchronous
PE2.Signal=USART10_RX
PE3.Mode=Asynchronous
PE3.Signal=USART10_TX
PE7.Mode=Asynchronous
PE7.Signal=UART7_RX
PE8.Mode=Asynchronous
PE8.Signal=UART7_TX
PE9.Signal=S_TIM1_CH1
PH0-OSC_IN.Mode=HSE-External-Oscillator
PH0-OSC_IN.Signal=RCC_OSC_IN
PH1-OSC_OUT.Mode=HSE-External-Oscillator
PH1-OSC_OUT.Signal=RCC_OSC_OUT
ProjectManager.HeapSize=0x4000
ProjectManager.StackSize=0x2000
ProjectManager.TargetToolchain=CMake
RCC.ADCFreq_Value=96000000
RCC.APB1Freq_Value=120000000
RCC.APB2Freq_Value=120000000
RCC.APB3Freq_Value=120000000
RCC.APB4Freq_Value=120000000
RCC.CortexFreq_Value=480000000
RCC.D1PPRE=RCC_APB3_DIV2
RCC.D2PPRE1=RCC_APB1_DIV2
RCC.D2PPRE2=RCC_APB2_DIV2
RCC.D3PPRE=RCC_APB4_DIV2
RCC.DIVM1=2
RCC.DIVM2=2
RCC.DIVN1=40
RCC.DIVN2=16
RCC.DIVP1=1
RCC.DIVQ1=4
RCC.EnbaleCSS=false
RCC.HCLKFreq_Value=240000000
RCC.HPRE=RCC_HCLK_DIV2
RCC.HSE_VALUE=24000000
RCC.PLL2FRACN=0
RCC.PLL2_VCI_Range-AdvancedSettings=RCC_PLL2VCIRANGE_0
RCC.PLL2_VCO_SEL-AdvancedSettings=RCC_PLL2VCOWIDE
RCC.PLL3FRACN=0
RCC.PLL3_VCO_SEL-AdvancedSettings=RCC_PLL3VCOMEDIUM
RCC.PLLFRACN=0
RCC.PLLSourceVirtual=RCC_PLLSOURCE_HSE
RCC.SPI6CLockSelection=RCC_SPI6CLKSOURCE_HSE
RCC.SYSCLKFreq_VALUE=480000000
RCC.SYSCLKSource=RCC_SYSCLKSOURCE_PLLCLK
RCC.USBCLockSelection=RCC_USBCLKSOURCE_HSI48
RCC.USBFreq_Value=48000000
SH.ADCx_INP19.0=ADC1_INP19,IN19-Single-Ended
SH.ADCx_INP4.0=ADC1_INP4,IN4-Single-Ended
SH.S_TIM12_CH2.0=TIM12_CH2,PWM Generation2 CH2
SH.S_TIM1_CH1.0=TIM1_CH1,PWM Generation1 CH1
SH.S_TIM1_CH3.0=TIM1_CH3,PWM Generation3 CH3
SH.S_TIM2_CH1_ETR.0=TIM2_CH1,PWM Generation1 CH1
SH.S_TIM2_CH3.0=TIM2_CH3,PWM Generation3 CH3
SH.S_TIM3_CH4.0=TIM3_CH4,PWM Generation4 CH4
SPI1.BaudRatePrescaler=SPI_BAUDRATEPRESCALER_4
SPI1.CLKPolarity=SPI_POLARITY_HIGH
SPI1.CalculateBaudRate=30.0 MBits/s
SPI1.DataSize=SPI_DATASIZE_8BIT
SPI1.Direction=SPI_DIRECTION_2LINES_TXONLY
SPI1.Mode=SPI_MODE_MASTER
SPI1.VirtualType=VM_MASTER
SPI2.BaudRatePrescaler=SPI_BAUDRATEPRESCALER_32
SPI2.CLKPhase=SPI_PHASE_2EDGE
SPI2.CLKPolarity=SPI_POLARITY_HIGH
SPI2.CalculateBaudRate=3.75 MBits/s
SPI2.DataSize=SPI_DATASIZE_8BIT
SPI2.Direction=SPI_DIRECTION_2LINES
SPI2.Mode=SPI_MODE_MASTER
SPI2.VirtualType=VM_MASTER
STMicroelectronics.X-CUBE-ALGOBUILD.1.4.0.LibraryCcDSPOoLibraryJjDSPOoLibrary=true
TIM1.Channel-PWM\ Generation1\ CH1=TIM_CHANNEL_1
TIM1.Channel-PWM\ Generation3\ CH3=TIM_CHANNEL_3
TIM1.Period=10000
TIM1.Prescaler=24
TIM1.Pulse-PWM\ Generation1\ CH1=5000
TIM1.Pulse-PWM\ Generation3\ CH3=5000
TIM12.Channel-PWM\ Generation2\ CH2=TIM_CHANNEL_2
TIM12.Period=2000-1
TIM12.Prescaler=24-1
TIM2.Channel-PWM\ Generation1\ CH1=TIM_CHANNEL_1
TIM2.Channel-PWM\ Generation3\ CH3=TIM_CHANNEL_3
TIM2.Period=10000
TIM2.Prescaler=24
TIM2.Pulse-PWM\ Generation1\ CH1=5000
TIM2.Pulse-PWM\ Generation3\ CH3=5000
TIM3.AutoReloadPreload=TIM_AUTORELOAD_PRELOAD_ENABLE
TIM3.Channel-PWM\ Generation4\ CH4=TIM_CHANNEL_4
TIM3.Period=10000-1
TIM3.Prescaler=24-1
UART5.BaudRate=100000
UART5.Mode=MODE_RX
UART5.Parity=PARITY_EVEN
UART5.WordLength=WORDLENGTH_9B
UART7.BaudRate=921600
USART1.BaudRate=921600
USART1.VirtualMode-Asynchronous=VM_ASYNC
USART10.BaudRate=921600
USART10.VirtualMode=VM_ASYNC
USART2.BaudRate=921600
USART2.VirtualMode-Asynchronous=VM_ASYNC
USART2.VirtualMode-Hardware\ Flow\ Control\ (RS485)=VM_ASYNC
USART3.BaudRate=921600
USART3.VirtualMode-Asynchronous=VM_ASYNC
USART3.VirtualMode-Hardware\ Flow\ Control\ (RS485)=VM_ASYNC
USB_DEVICE.CLASS_NAME_HS=CDC
USB_DEVICE.PRODUCT_STRING_CDC_HS=Motor Bench CDC MC02
USB_DEVICE.VirtualMode=Cdc
USB_DEVICE.VirtualModeHS=Cdc_HS
USB_OTG_HS.VirtualMode-Device_Only_FS=Device_Only_FS
VP_FREERTOS_VS_CMSIS_V1.Mode=CMSIS_V1
VP_OCTOSPI2_VS_quad.Mode=quad_mode
VP_STMicroelectronics.X-CUBE-ALGOBUILD_VS_DSPOoLibraryJjLibrary_1.4.0_1.4.0.Mode=DSPOoLibraryJjLibrary
VP_SYS_VS_tim23.Mode=TIM23
VP_USB_DEVICE_VS_USB_DEVICE_CDC_HS.Mode=CDC_HS
board=custom

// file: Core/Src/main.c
/* USER CODE BEGIN Header */
/**
  ******************************************************************************
  * @file           : main.c
  * @brief          : Main program body
  ******************************************************************************
  * @attention
  *
  * Copyright (c) 2026 STMicroelectronics.
  * All rights reserved.
  *
  * This software is licensed under terms that can be found in the LICENSE file
  * in the root directory of this software component.
  * If no LICENSE file comes with this software, it is provided AS-IS.
  *
  ******************************************************************************
  */
/* USER CODE END Header */
#include "main.h"
#include "cmsis_os.h"
#include "adc.h"
#include "dma.h"
#include "fdcan.h"
#include "i2c.h"
#include "octospi.h"
#include "spi.h"
#include "tim.h"
#include "usart.h"
#include "usb_device.h"
#include "gpio.h"

/* USER CODE BEGIN Includes */
#include "robot.h"

/* USER CODE END Includes */

void SystemClock_Config(void);
void MX_FREERTOS_Init(void);

int main(void)
{

  /* MCU Configuration--------------------------------------------------------*/

  /* Reset of all peripherals, Initializes the Flash interface and the Systick. */
  HAL_Init();

  /* Configure the system clock */
  SystemClock_Config();

  /* Initialize all configured peripherals */
  MX_GPIO_Init();
  MX_DMA_Init();
  MX_ADC1_Init();
  MX_TIM12_Init();
  MX_SPI1_Init();
  MX_SPI2_Init();
  MX_TIM3_Init();
  MX_USART1_UART_Init();
  MX_USART2_UART_Init();
  MX_USART3_UART_Init();
  MX_UART7_Init();
  MX_USART10_UART_Init();
  MX_FDCAN1_Init();
  MX_FDCAN2_Init();
  MX_FDCAN3_Init();
  MX_TIM1_Init();
  MX_TIM2_Init();
  MX_OCTOSPI2_Init();
  MX_UART5_Init();
  MX_UART8_Init();
  MX_UART9_Init();
  MX_I2C2_Init();
  /* USER CODE BEGIN 2 */
  RobotInit();

  /* USER CODE END 2 */

  /* Call init function for freertos objects (in freertos.c) */
  MX_FREERTOS_Init();

  /* Start scheduler */
  osKernelStart();

  /* We should never get here as control is now taken by the scheduler */
  /* Infinite loop */
  while (1)
  {

  }
}

void SystemClock_Config(void)
{
  RCC_OscInitTypeDef RCC_OscInitStruct = {0};
  RCC_ClkInitTypeDef RCC_ClkInitStruct = {0};

  /** Supply configuration update enable
  */
  HAL_PWREx_ConfigSupply(PWR_LDO_SUPPLY);

  /** Configure the main internal regulator output voltage
  */
  __HAL_PWR_VOLTAGESCALING_CONFIG(PWR_REGULATOR_VOLTAGE_SCALE0);

  while(!__HAL_PWR_GET_FLAG(PWR_FLAG_VOSRDY)) {}

  /** Initializes the RCC Oscillators according to the specified parameters
  * in the RCC_OscInitTypeDef structure.
  */
  RCC_OscInitStruct.OscillatorType = RCC_OSCILLATORTYPE_HSI48|RCC_OSCILLATORTYPE_HSI
                              |RCC_OSCILLATORTYPE_HSE;
  RCC_OscInitStruct.HSEState = RCC_HSE_ON;
  RCC_OscInitStruct.HSIState = RCC_HSI_DIV1;
  RCC_OscInitStruct.HSICalibrationValue = 64;
  RCC_OscInitStruct.HSI48State = RCC_HSI48_ON;
  RCC_OscInitStruct.PLL.PLLState = RCC_PLL_ON;
  RCC_OscInitStruct.PLL.PLLSource = RCC_PLLSOURCE_HSE;
  RCC_OscInitStruct.PLL.PLLM = 2;
  RCC_OscInitStruct.PLL.PLLN = 40;
  RCC_OscInitStruct.PLL.PLLP = 1;
  RCC_OscInitStruct.PLL.PLLQ = 4;
  RCC_OscInitStruct.PLL.PLLR = 2;
  RCC_OscInitStruct.PLL.PLLRGE = RCC_PLL1VCIRANGE_3;
  RCC_OscInitStruct.PLL.PLLVCOSEL = RCC_PLL1VCOWIDE;
  RCC_OscInitStruct.PLL.PLLFRACN = 0;
  if (HAL_RCC_OscConfig(&RCC_OscInitStruct) != HAL_OK)
  {
    Error_Handler();
  }

  /** Initializes the CPU, AHB and APB buses clocks
  */
  RCC_ClkInitStruct.ClockType = RCC_CLOCKTYPE_HCLK|RCC_CLOCKTYPE_SYSCLK
                              |RCC_CLOCKTYPE_PCLK1|RCC_CLOCKTYPE_PCLK2
                              |RCC_CLOCKTYPE_D3PCLK1|RCC_CLOCKTYPE_D1PCLK1;
  RCC_ClkInitStruct.SYSCLKSource = RCC_SYSCLKSOURCE_PLLCLK;
  RCC_ClkInitStruct.SYSCLKDivider = RCC_SYSCLK_DIV1;
  RCC_ClkInitStruct.AHBCLKDivider = RCC_HCLK_DIV2;
  RCC_ClkInitStruct.APB3CLKDivider = RCC_APB3_DIV2;
  RCC_ClkInitStruct.APB1CLKDivider = RCC_APB1_DIV2;
  RCC_ClkInitStruct.APB2CLKDivider = RCC_APB2_DIV2;
  RCC_ClkInitStruct.APB4CLKDivider = RCC_APB4_DIV2;

  if (HAL_RCC_ClockConfig(&RCC_ClkInitStruct, FLASH_LATENCY_3) != HAL_OK)
  {
    Error_Handler();
  }
  HAL_RCC_MCOConfig(RCC_MCO1, RCC_MCO1SOURCE_HSI, RCC_MCODIV_1);
}

void HAL_TIM_PeriodElapsedCallback(TIM_HandleTypeDef *htim)
{
  if (htim->Instance == TIM23) {
    HAL_IncTick();
  }
}

void Error_Handler(void)
{
  __disable_irq();
  while (1)
  {
  }
}

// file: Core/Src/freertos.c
/* USER CODE BEGIN Header */
/**
  ******************************************************************************
  * File Name          : freertos.c
  * Description        : Code for freertos applications
  ******************************************************************************
  * @attention
  *
  * Copyright (c) 2026 STMicroelectronics.
  * All rights reserved.
  *
  * This software is licensed under terms that can be found in the LICENSE file
  * in the root directory of this software component.
  * If no LICENSE file comes with this software, it is provided AS-IS.
  *
  ******************************************************************************
  */
/* USER CODE END Header */

#include "FreeRTOS.h"
#include "task.h"
#include "main.h"
#include "cmsis_os.h"

/* USER CODE BEGIN Includes */
#include "motor_task.h"
#include "daemon.h"

/* USER CODE END Includes */

/* USER CODE BEGIN Variables */
osThreadId motorTaskHandle;
osThreadId daemonTaskHandle;

/* USER CODE END Variables */
osThreadId defaultTaskHandle;

/* USER CODE BEGIN FunctionPrototypes */
void StartMOTORTASK(void const *argument);
void StartDAEMONTASK(void const *argument);

/* USER CODE END FunctionPrototypes */

void StartDefaultTask(void const * argument);

extern void MX_USB_DEVICE_Init(void);
void MX_FREERTOS_Init(void); /* (MISRA C 2004 rule 8.1) */

/* GetIdleTaskMemory prototype (linked to static allocation support) */
void vApplicationGetIdleTaskMemory( StaticTask_t **ppxIdleTaskTCBBuffer, StackType_t **ppxIdleTaskStackBuffer, uint32_t *pulIdleTaskStackSize );

/* GetTimerTaskMemory prototype (linked to static allocation support) */
void vApplicationGetTimerTaskMemory( StaticTask_t **ppxTimerTaskTCBBuffer, StackType_t **ppxTimerTaskStackBuffer, uint32_t *pulTimerTaskStackSize );

/* Hook prototypes */
void configureTimerForRunTimeStats(void);
unsigned long getRunTimeCounterValue(void);

/* USER CODE BEGIN 1 */
/* Functions needed when configGENERATE_RUN_TIME_STATS is on */
__weak void configureTimerForRunTimeStats(void)
{

}

__weak unsigned long getRunTimeCounterValue(void)
{
return 0;
}
/* USER CODE END 1 */

/* USER CODE BEGIN GET_IDLE_TASK_MEMORY */
static StaticTask_t xIdleTaskTCBBuffer;
static StackType_t xIdleStack[configMINIMAL_STACK_SIZE];

void vApplicationGetIdleTaskMemory( StaticTask_t **ppxIdleTaskTCBBuffer, StackType_t **ppxIdleTaskStackBuffer, uint32_t *pulIdleTaskStackSize )
{
  *ppxIdleTaskTCBBuffer = &xIdleTaskTCBBuffer;
  *ppxIdleTaskStackBuffer = &xIdleStack[0];
  *pulIdleTaskStackSize = configMINIMAL_STACK_SIZE;
  /* place for user code */
}
/* USER CODE END GET_IDLE_TASK_MEMORY */

/* USER CODE BEGIN GET_TIMER_TASK_MEMORY */
static StaticTask_t xTimerTaskTCBBuffer;
static StackType_t xTimerStack[configTIMER_TASK_STACK_DEPTH];

void vApplicationGetTimerTaskMemory( StaticTask_t **ppxTimerTaskTCBBuffer, StackType_t **ppxTimerTaskStackBuffer, uint32_t *pulTimerTaskStackSize )
{
  *ppxTimerTaskTCBBuffer = &xTimerTaskTCBBuffer;
  *ppxTimerTaskStackBuffer = &xTimerStack[0];
  *pulTimerTaskStackSize = configTIMER_TASK_STACK_DEPTH;
  /* place for user code */
}
/* USER CODE END GET_TIMER_TASK_MEMORY */

void MX_FREERTOS_Init(void) {

  /* USER CODE BEGIN RTOS_QUEUES */
  MX_USB_DEVICE_Init();
  /* USER CODE END RTOS_QUEUES */

  /* Create the thread(s) */
  /* definition and creation of defaultTask */
  osThreadDef(defaultTask, StartDefaultTask, osPriorityNormal, 0, 128);
  defaultTaskHandle = osThreadCreate(osThread(defaultTask), NULL);

  /* USER CODE BEGIN RTOS_THREADS */
  osThreadDef(motortask, StartMOTORTASK, osPriorityNormal, 0, 1024);
  motorTaskHandle = osThreadCreate(osThread(motortask), NULL);
  osThreadDef(daemontask, StartDAEMONTASK, osPriorityNormal, 0, 128);
  daemonTaskHandle = osThreadCreate(osThread(daemontask), NULL);
  if (!defaultTaskHandle || !motorTaskHandle || !daemonTaskHandle) Error_Handler();
  /* USER CODE END RTOS_THREADS */

}

void StartDefaultTask(void const * argument)
{
  /* USB and bench callbacks were initialized before scheduling. */
  /* USER CODE BEGIN StartDefaultTask */
  vTaskDelete(NULL);
  /* USER CODE END StartDefaultTask */
}

/* USER CODE BEGIN Application */
void StartMOTORTASK(void const *argument)
{
  for (;;) { MotorControlTask(); osDelay(2); }
}
void StartDAEMONTASK(void const *argument)
{
  for (;;) { DaemonTask(); osDelay(10); }
}

/* USER CODE END Application */
